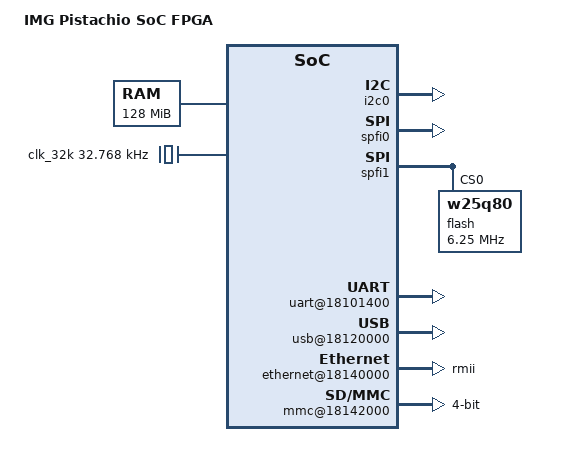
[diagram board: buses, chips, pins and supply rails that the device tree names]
/*
 * Copyright (C) 2012 Imagination Technologies Ltd.
 * Copyright (C) 2014 Google, Inc.
 *
 * This program is free software; you can redistribute it and/or modify
 * it under the terms of the GNU General Public License version 2 as
 * published by the Free Software Foundation.
 */

/dts-v1/;

#include <dt-bindings/interrupt-controller/irq.h>
#include <dt-bindings/interrupt-controller/mips-gic.h>

/ {
	model = "IMG Pistachio SoC FPGA";
	compatible = "img,pistachio-fpga";

	#address-cells = <1>;
	#size-cells = <1>;

	interrupt-parent = <&gic>;

	aliases {
		i2c0 = &i2c0;
		spi0 = &spfi0;
		spi1 = &spfi1;
	};

	chosen {
		bootargs = "console=ttyS0,115200 earlycon=uart8250,mmio32,0x18101400,115200";
	};

	memory {
		device_type = "memory";
		reg =  <0x00000000 0x08000000>;
	};

	cpus {
		#address-cells = <1>;
		#size-cells = <0>;

		cpu0: cpu@0 {
			device_type = "cpu";
			compatible = "mti,interaptiv";
			reg = <0>;
			clocks = <&system_clk>;
		};
	};

	i2c0: i2c@18100000 {
		compatible = "img,scb-i2c";
		reg = <0x18100000 0x200>;
		interrupts = <GIC_SHARED 2 IRQ_TYPE_LEVEL_HIGH>;
		clocks = <&system_clk>, <&system_clk>;
		clock-names = "scb", "sys";

		#address-cells = <1>;
		#size-cells = <0>;
	};

	spfi0: spi@18100f00 {
		compatible = "img,spfi";
		reg = <0x18100f00 0x100>;
		interrupts = <GIC_SHARED 22 IRQ_TYPE_LEVEL_HIGH>;
		clocks = <&system_clk>, <&system_clk>;
		clock-names = "spfi", "sys";
		dmas = <&mdc 9 0xffffffff 0>, <&mdc 10 0xffffffff 0>;
		dma-names = "rx", "tx";

		#address-cells = <1>;
		#size-cells = <0>;
	};

	spfi1: spi@18101000 {
		compatible = "img,spfi";
		reg = <0x18101000 0x100>;
		interrupts = <GIC_SHARED 26 IRQ_TYPE_LEVEL_HIGH>;
		clocks = <&system_clk>, <&system_clk>;
		clock-names = "spfi", "sys";
		dmas = <&mdc 1 0xffffffff 0>, <&mdc 2 0xffffffff 0>;
		dma-names = "rx", "tx";

		img,supports-quad-mode;

		#address-cells = <1>;
		#size-cells = <0>;

		flash@0 {
			compatible = "w25q80";
			reg = <0>;
			spi-max-frequency = <6250000>;
		};
	};

	uart@18101400 {
		compatible = "snps,dw-apb-uart";
		reg = <0x18101400 0x100>;
		interrupts = <GIC_SHARED 24 IRQ_TYPE_LEVEL_HIGH>;
		clocks = <&uart_clk>;
		clock-names = "baudclk";
		reg-shift = <2>;
		reg-io-width = <4>;
	};

	ir@18102200 {
		compatible = "img,ir-rev1";
		reg = <0x18102200 0x100>;
		interrupts = <GIC_SHARED 51 IRQ_TYPE_LEVEL_HIGH>;
		clocks = <&clk_32k>, <&system_clk>;
		clock-names = "core", "sys";
	};

	usb@18120000 {
		compatible = "img,pistachio-usb";
		reg = <0x18120000 0x1c000>;
		interrupts = <GIC_SHARED 49 IRQ_TYPE_LEVEL_HIGH>;
		clocks = <&system_clk>;
		clock-names = "otg";
	};

	ethernet@18140000 {
		compatible = "snps,dwmac";
		reg = <0x18140000 0x2000>;
		interrupts = <GIC_SHARED 50 IRQ_TYPE_LEVEL_HIGH>;
		interrupt-names = "macirq";
		clocks = <&system_clk>;
		clock-names = "stmmaceth";
		mac-address = [000000000000];
		phy-mode = "rmii";
	};

	mmc@18142000 {
		compatible = "img,pistachio-dw-mshc";
		reg = <0x18142000 0x400>;
		interrupts = <GIC_SHARED 39 IRQ_TYPE_LEVEL_HIGH>;
		clocks = <&system_clk>;
		clock-names = "ciu";

		fifo-depth = <0x20>;
		bus-width = <4>;
		num-slots = <1>;
		disable-wp;
	};

	mdc: dma-controller@18143000 {
		compatible = "img,pistachio-mdc-dma";
		reg = <0x18143000 0x1000>;
		interrupts = <GIC_SHARED 27 IRQ_TYPE_LEVEL_HIGH>,
			     <GIC_SHARED 28 IRQ_TYPE_LEVEL_HIGH>,
			     <GIC_SHARED 29 IRQ_TYPE_LEVEL_HIGH>,
			     <GIC_SHARED 30 IRQ_TYPE_LEVEL_HIGH>,
			     <GIC_SHARED 31 IRQ_TYPE_LEVEL_HIGH>,
			     <GIC_SHARED 32 IRQ_TYPE_LEVEL_HIGH>,
			     <GIC_SHARED 33 IRQ_TYPE_LEVEL_HIGH>,
			     <GIC_SHARED 34 IRQ_TYPE_LEVEL_HIGH>,
			     <GIC_SHARED 35 IRQ_TYPE_LEVEL_HIGH>,
			     <GIC_SHARED 36 IRQ_TYPE_LEVEL_HIGH>,
			     <GIC_SHARED 37 IRQ_TYPE_LEVEL_HIGH>,
			     <GIC_SHARED 38 IRQ_TYPE_LEVEL_HIGH>;
		clocks = <&system_clk>;
		clock-names = "sys";

		img,max-burst-multiplier = <16>;
		img,cr-periph = <&cr_periph>;

		#dma-cells = <3>;
	};

	cr_periph: peripheral-control@18148000 {
		compatible = "img,pistachio-cr-periph", "syscon";
		reg = <0x18148000 0x1000>;
	};

	gic: interrupt-controller@1bdc0000 {
		compatible = "mti,gic";
		reg = <0x1bdc0000 0x20000>;

		interrupt-controller;
		#interrupt-cells = <3>;

		timer {
			compatible = "mti,gic-timer";
			interrupts = <GIC_LOCAL 1 IRQ_TYPE_NONE>;
			clock-frequency = <50000000>;
		};
	};

	system_clk: system-clock {
		compatible = "fixed-clock";
		#clock-cells = <0>;
		clock-frequency = <50000000>;
		clock-output-names = "system_clk";
	};

	utmi_clk: utmi-clock {
		compatible = "fixed-clock";
		#clock-cells = <0>;
		clock-frequency = <60000000>;
		clock-output-names = "utmi_clk";
	};

	uart_clk: uart-clock {
		compatible = "fixed-clock";
		#clock-cells = <0>;
		clock-frequency = <1843200>;
		clock-output-names = "uart_clk";
	};

	clk_32k: clock-32khz {
		compatible = "fixed-clock";
		#clock-cells = <0>;
		clock-frequency = <32768>;
		clock-output-names = "clk_32k";
	};
};
